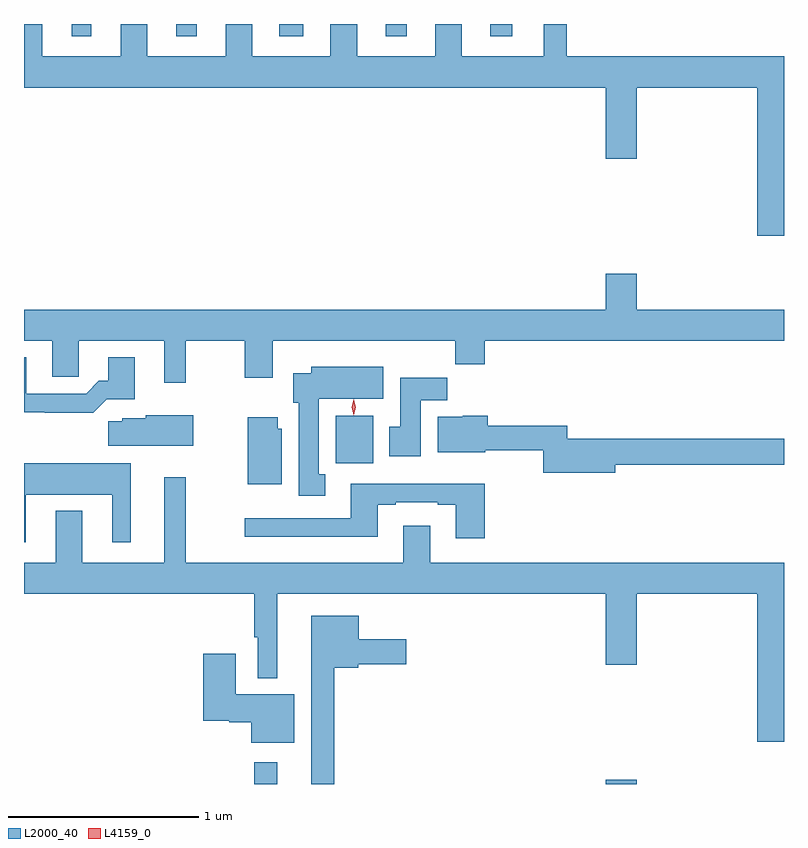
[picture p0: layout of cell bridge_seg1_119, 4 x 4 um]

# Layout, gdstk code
import gdstk
lib = gdstk.Library(unit=1e-6, precision=1e-09)
def R(c, l, rs):  # rectangles x0, y0, x1, y1
    for r in rs: c.add(gdstk.rectangle(r[:2], r[2:], *l))
def P(c, l, *ps):  # polygons
    for p in ps: c.add(gdstk.Polygon(p, *l))
L2000_40 = (2000, 40)
L4159_0 = (4159, 0)

bridge_seg1_119 = lib.new_cell('bridge_seg1_119')
R(bridge_seg1_119, L2000_40, [(319.002,569.379,319.123,569.494), (320.852,569.379,321.016,569.401), (319.431,571.068,319.627,571.318), (318.041,573.315,318.145,573.379), (318.59,573.315,318.7,573.379), (319.133,573.315,319.261,573.379), (319.694,573.315,319.804,573.379), (320.243,573.315,320.359,573.379)])
P(bridge_seg1_119, L2000_40, [(321.79,573.208),(320.647,573.208),(320.647,573.379),(320.525,573.379),(320.525,573.208),(320.095,573.208),(320.095,573.379),(319.955,573.379),(319.955,573.208),(319.543,573.208),(319.543,573.379),(319.403,573.379),(319.403,573.208),(318.991,573.208),(318.991,573.379),(318.851,573.379),(318.851,573.208),(318.439,573.208),(318.439,573.379),(318.299,573.379),(318.299,573.208),(317.887,573.208),(317.887,573.379),(317.79,573.379),(317.79,573.044),(320.852,573.044),(320.852,572.67),(321.016,572.67),(321.016,573.044),(321.65,573.044),(321.65,572.265),(321.79,572.265)],
  [(318.641,571.712),(318.952,571.712),(318.952,571.518),(319.099,571.518),(319.099,571.712),(320.059,571.712),(320.059,571.588),(320.216,571.588),(320.216,571.712),(321.79,571.712),(321.79,571.876),(321.016,571.876),(321.016,572.065),(320.852,572.065),(320.852,571.876),(317.79,571.876),(317.79,571.712),(317.939,571.712),(317.939,571.522),(318.078,571.522),(318.078,571.712),(318.527,571.712),(318.527,571.491),(318.641,571.491)],
  [(318.225,571.404),(318.373,571.404),(318.373,571.624),(318.233,571.624),(318.233,571.501),(318.184,571.501),(318.117,571.434),(317.803,571.434),(317.803,571.624),(317.79,571.624),(317.79,571.336),(317.899,571.336),(317.899,571.334),(318.155,571.334)],
  [(319.375,571.009),(319.342,571.009),(319.342,571.406),(319.681,571.406),(319.681,571.576),(319.301,571.576),(319.301,571.54),(319.208,571.54),(319.208,571.386),(319.235,571.386),(319.235,570.897),(319.375,570.897)],
  [(319.879,571.4),(320.018,571.4),(320.018,571.518),(319.769,571.518),(319.769,571.26),(319.712,571.26),(319.712,571.104),(319.879,571.104)],
  [(318.682,571.321),(318.432,571.321),(318.432,571.303),(318.306,571.303),(318.306,571.289),(318.234,571.289),(318.234,571.16),(318.682,571.16)],
  [(320.902,571.06),(321.79,571.06),(321.79,571.196),(320.65,571.196),(320.65,571.264),(320.231,571.264),(320.231,571.318),(320.1,571.318),(320.1,571.312),(319.967,571.312),(319.967,571.124),(320.218,571.124),(320.218,571.135),(320.522,571.135),(320.522,571.018),(320.902,571.018)],
  [(319.147,571.248),(319.126,571.248),(319.126,571.309),(318.968,571.309),(318.968,570.956),(319.147,570.956)],
  [(317.8,570.902),(318.254,570.902),(318.254,570.651),(318.352,570.651),(318.352,571.066),(317.79,571.066),(317.79,570.651),(317.8,570.651)],
  [(321.79,570.544),(319.927,570.544),(319.927,570.739),(319.787,570.739),(319.787,570.544),(318.641,570.544),(318.641,570.994),(318.527,570.994),(318.527,570.544),(318.097,570.544),(318.097,570.817),(317.957,570.817),(317.957,570.544),(317.79,570.544),(317.79,570.38),(319.002,570.38),(319.002,570.151),(319.019,570.151),(319.019,569.936),(319.123,569.936),(319.123,570.38),(320.852,570.38),(320.852,570.006),(321.016,570.006),(321.016,570.38),(321.65,570.38),(321.65,569.601),(321.79,569.601)],
  [(320.216,570.958),(319.511,570.958),(319.511,570.777),(318.951,570.777),(318.951,570.68),(319.651,570.68),(319.651,570.849),(319.747,570.849),(319.747,570.861),(319.967,570.861),(319.967,570.849),(320.063,570.849),(320.063,570.672),(320.216,570.672)],
  [(319.423,569.99),(319.548,569.99),(319.548,570.008),(319.801,570.008),(319.801,570.142),(319.552,570.142),(319.552,570.265),(319.301,570.265),(319.301,569.379),(319.423,569.379)],
  [(319.213,569.851),(318.904,569.851),(318.904,570.064),(318.734,570.064),(318.734,569.711),(318.87,569.711),(318.87,569.704),(318.986,569.704),(318.986,569.597),(319.213,569.597)])
P(bridge_seg1_119, L4159_0, [(319.526,571.32),(319.526,571.32),(319.515,571.361),(319.525,571.403),(319.525,571.403),(319.525,571.403),(319.535,571.362),(319.526,571.32)])

lib.write_gds('bridge_seg1_119.gds')
